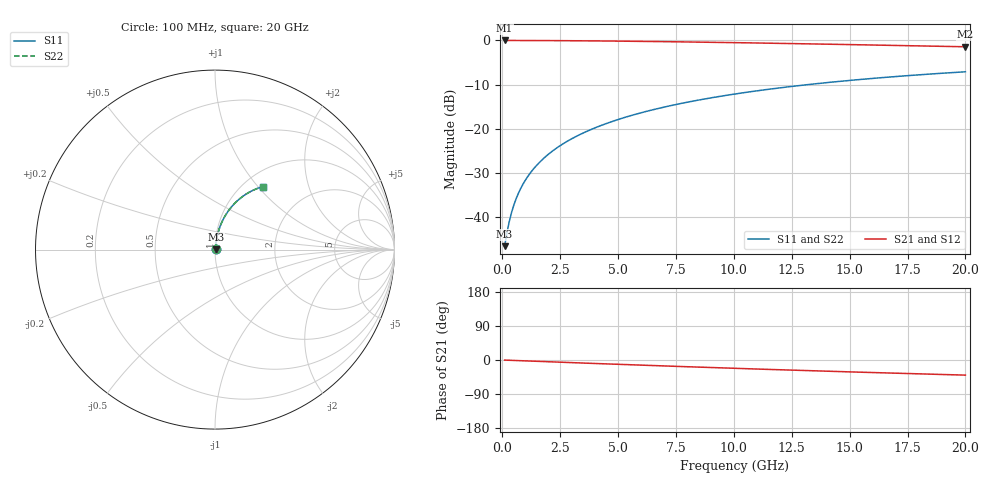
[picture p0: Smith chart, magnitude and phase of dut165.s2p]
! Touchstone file exported from HFSS 2024.1.0
!  File:  C:/UserFiles/LocalFiles/RDL_TSV_Batchsim/temp_RDL_top_165_1778685634.aedt
!  Generated:  11:22:40 PM May 13, 2026
!  Design:  RDL_top
!  Project:  temp_RDL_top_165_1778685634
!  Setup:  Setup1
!  Solution:  Sweep
! Variables:
!  dtsv = 10.80580581um
!  hbump = 3um
!  htsv = 89.14um
!  ldown = 100um
!  lrdl = 539.82um
!  p = 40
!  p1 = 42.42um
!  rhole = 1um
!  t = 450um
!  tdown = 3.915915916um
!  trdl = 4.49um
!  wdown = 15.38538539um
!  wrdl = 11um
# GHz S MA R 50.000000
! Terminal data exported
! Port[1] = Box2_T1
! Port[2] = Box2_T2
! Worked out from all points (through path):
!   200 points, 100 MHz to 20 GHz, reference 50 ohm
!   highest |S21| = -0.03 dB at 100 MHz (marker M1); lowest = -1.5 dB at 20 GHz (marker M2)
!   group delay of S21, straight-line fit = 5.54 ps
!   lowest |S11| = -46.5 dB at 100 MHz (marker M3), VSWR 1.01, Z = 50.4 + j0.27 ohm
!   |S11| at or under -10 dB: start of sweep to 13.2 GHz
!   |S22| runs from -46.5 to -7.1 dB; largest |S21 - S12| = 8.1e-15
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0.1  0.00474 34.4  0.9961 -0.2  0.9961 -0.2  0.00474 34.4
! Gamma 0 0 0 0
! Port Impedance 50 0 50 0
0.2  0.006662 53.2  0.996 -0.5  0.996 -0.5  0.006662 53.2
0.3  0.008957 62.7  0.9959 -0.7  0.9959 -0.7  0.008957 62.7
0.4  0.01138 68.1  0.9958 -0.9  0.9958 -0.9  0.01138 68.1
0.5  0.01385 71.5  0.9957 -1.2  0.9957 -1.2  0.01385 71.5
0.6  0.01634 73.9  0.9955 -1.4  0.9955 -1.4  0.01634 73.9
0.8  0.02137 76.8  0.9953 -1.9  0.9953 -1.9  0.02137 76.8
1.1  0.02898 79.1  0.9948 -2.6  0.9948 -2.6  0.02898 79.1
1.5  0.03917 80.5  0.994 -3.5  0.994 -3.5  0.03917 80.5
1.8  0.04683 80.9  0.9933 -4.2  0.9933 -4.2  0.04683 80.9
2.1  0.05448 81.1  0.9925 -4.9  0.9925 -4.9  0.05448 81.1
2.7  0.06976 80.9  0.9905 -6.3  0.9905 -6.3  0.06976 80.9
3.5  0.09003 80.1  0.9872 -8.1  0.9872 -8.1  0.09003 80.1
4.2  0.1076 79.2  0.9838 -9.6  0.9838 -9.6  0.1076 79.2
5  0.1276 78.0  0.9793 -11.4  0.9793 -11.4  0.1276 78.0
5.9  0.1497 76.5  0.9736 -13.4  0.9736 -13.4  0.1497 76.5
6.8  0.1716 75.0  0.9673 -15.3  0.9673 -15.3  0.1716 75.1
8.3  0.2074 72.5  0.9559 -18.4  0.9559 -18.4  0.2074 72.5
10.1  0.2489 69.4  0.9408 -22.1  0.9408 -22.1  0.2489 69.4
13.4  0.3203 63.6  0.9104 -28.4  0.9104 -28.4  0.3204 63.6
16.7  0.3846 58.0  0.878 -34.4  0.878 -34.4  0.3847 58.1
20  0.4412 52.7  0.8452 -39.9  0.8452 -39.9  0.4413 52.8
